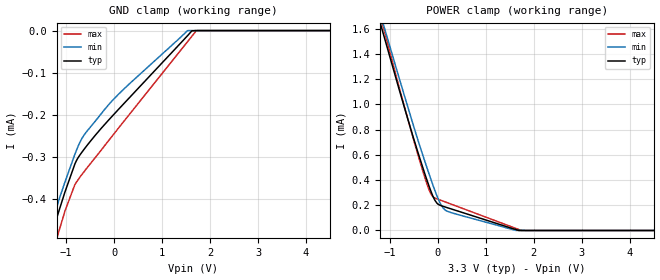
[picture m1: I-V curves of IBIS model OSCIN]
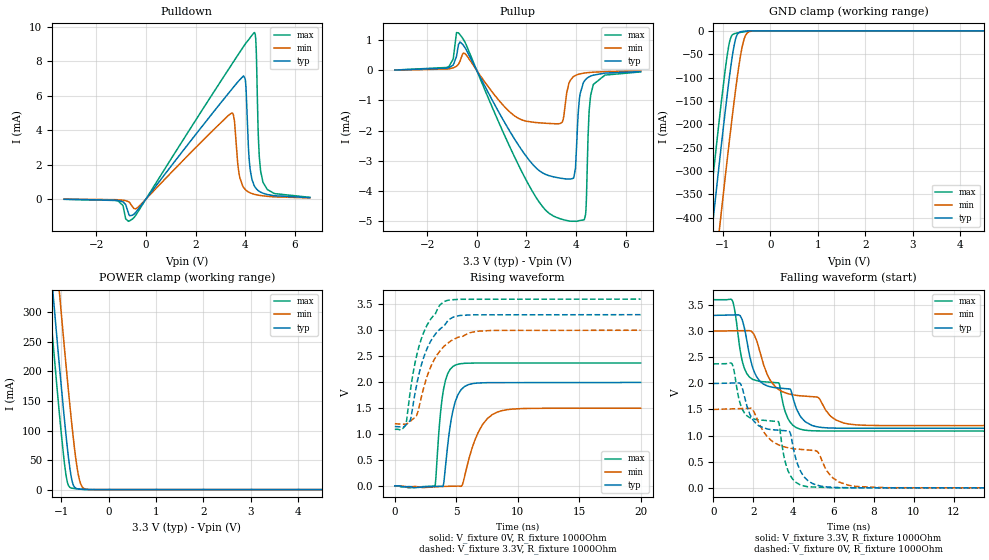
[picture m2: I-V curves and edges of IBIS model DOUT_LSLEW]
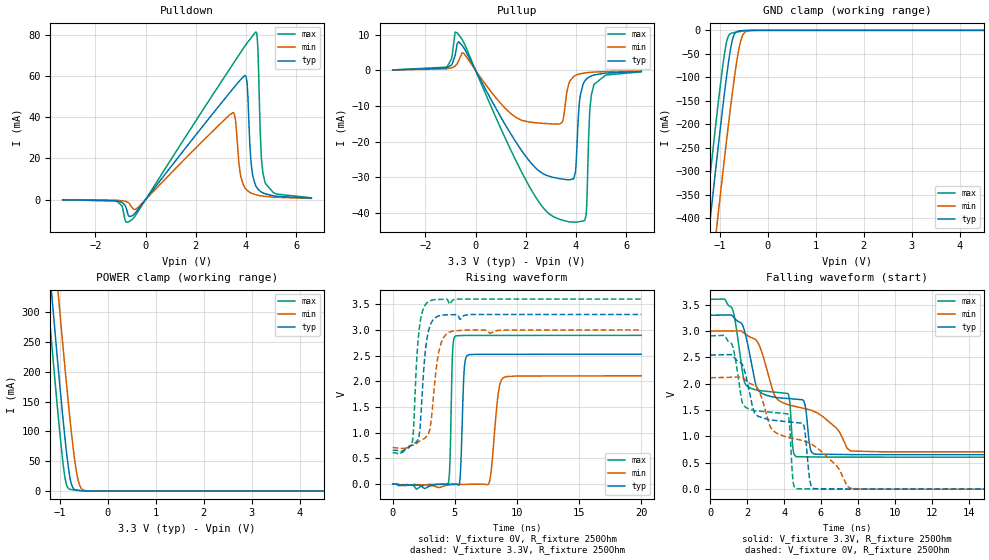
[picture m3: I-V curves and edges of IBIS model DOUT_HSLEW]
| Texas Instruments Incorporated
| Wideband Frequency Synthesizer with Integrated VCO
| Marketing part#   Voltage Range   Package-type   #pins/pkg drawing
| LMX2582RHA   3.0V - 3.6V   VQFN   40/ RHA
| LMX2592RHA   3.0V - 3.6V   VQFN   40/ RHA
[IBIS Ver]   4.1
[File name]   lmx25x2.ibs
[File Rev]   1.1
[Date]   09/13/2016
[Source]   Model built from spectre simulations at:
   Texas Instruments Incorporated.
   Analog-eLab, HPA
   12500 TI Blvd
   Dallas, TX -75243
   For Support e-mail: elab_ibis@list.ti.com
[Notes]   Revision History
   Rev 1.1: 09/13/2016
   - Add OSCin model to LMX2582
   Rev 1.0: 06/08/2016
   -Pulldown non-monotonic for RFOUT model
   -Pulldown/Pullup non-monotonic for DOUT_HSLEW models
   - C_comp although listed in numerical order of value are obtained from varying PVT conditions.
   For PVT conditions for each specific value, refer to the buffer description under respective [Model].
   IBIS model user is responsible for using appropriate C_comp to simulate for Signal Integrity.
[Disclaimer]  This model is designed as an aid for customers of Texas Instruments
 TI and its licensors and suppliers make no warranties, either expressed
 or implied, with respect to this  model, including the warranties of
 merchantability or fitness for a particular purpose.
 The model is provided solely on an "as is" basis. The entire risk as to
 its quality and performance is with the customer.
[Copyright] (C)Copyright 2016 Texas Instruments Incorporated.
   All rights reserved.
[Component]   LMX2582RHA
[Manufacturer]  Texas Instruments Incorporated
[Package]   | package
|   typ   min   max
R_pkg   0.0481   0.0070   0.0984
L_pkg   0.8559n   0.1579n   1.4136n
C_pkg   0.1669p   0.1059p   0.6549p
[Pin]   signal_name   model_name   R_pin   L_pin   C_pin
1   CE   INPCE   0.00698  0.15793n  0.65491p
2   GND   GND   0.03214  0.61168n  0.13952p
3   VbiasVCO   NC   0.03231  0.61307n  0.13729p
4   GND   GND   0.03242  0.61576n  0.13729p
5   NC   NC   0.06385  0.87481n  0.10883p
6   GND   GND   0.03291  0.62272n  0.14084p
7   VCCdig   POWER   0.03212  0.61336n  0.14275p
8   OSCinP   OSCIN   0.03284  0.63490n  0.14804p
9   OSCinM   OSCIN   0.03644  0.75293n  0.15729p
10   VregIN   NC   0.08311  1.17968n  0.12411p
11   VCCCP   POWER   0.04391  0.91853n  0.17234p
12   CPOUT   NC   0.04176  0.86907n  0.17677p
13   GND   GND   0.02696  0.72997n  0.20219p
14   GND   GND   0.04862  1.08658n  0.17963p
15   VCCMASH   POWER   0.04617  1.01100n  0.18186p
16   SCK   INP   0.08281  1.17151n  0.13669p
17   SDI   INP   0.07930  1.11696n  0.13492p
18   RFOUTB   RFOUT   0.04055  0.82255n  0.18102p
19   RFOUTB*   RFOUT   0.04205  0.86548n  0.18126p
20   MUXOUT   DOUT   0.09141  1.31028n  0.13140p
21   VCCBUF   POWER   0.04656  0.98983n  0.17071p
22   RFOUTA*   RFOUT   0.04647  1.00021n  0.19912p
23   RFOUTA   RFOUT   0.04379  0.91560n  0.19087p
24   CSB   INP   0.08165  1.15036n  0.13314p
25   GND   GND   0.02703  0.74342n  0.19499p
26   VccVCO2   NC   0.02709  0.74589n  0.20094p
27   VbiasVCO2   NC   0.04159  0.84539n  0.18011p
28   NC   NC   0.04461  0.93557n  0.18858p
29   VrefVCO2   NC   0.04933  1.09387n  0.19752p
30   Rext   NC   0.09839  1.41358n  0.13970p
31   GND   GND   0.07767  1.08848n  0.11563p
32   NC   NC   0.03506  0.71579n  0.14735p
33   VbiasVARAC   NC   0.03256  0.62591n  0.13797p
34   GND   GND   0.08157  1.14536n  0.12901p
35   Vtune   NC   0.06824  0.93832n  0.11765p
36   VREFVCO   NC   0.03160  0.59866n  0.14070p
37   VccVCO   NC   0.03017  0.55856n  0.13995p
38   VregVCO   NC   0.03163  0.59740n  0.13998p
39   GND   GND   0.03151  0.59467n  0.13738p
40   GND   GND   0.06943  0.96080n  0.10588p
[Diff pin]  inv_pin  vdiff  tdelay_typ  tdelay_min  tdelay_max
  8   9   0.1   NA   NA   NA
 18   19   NA   0.0s   0.0s   0.0s
 23   22   NA   0.0s   0.0s   0.0s
[Component]   LMX2592RHA
[Manufacturer]  Texas Instruments Incorporated
[Package]   | package
|   typ   min   max
R_pkg   0.0481   0.0070   0.0984
L_pkg   0.8559n   0.1579n   1.4136n
C_pkg   0.1669p   0.1059p   0.6549p
[Pin]   signal_name   model_name   R_pin   L_pin   C_pin
1   CE   INPCE   0.00698  0.15793n  0.65491p
2   GND   GND   0.03214  0.61168n  0.13952p
3   VbiasVCO   NC   0.03231  0.61307n  0.13729p
4   GND   GND   0.03242  0.61576n  0.13729p
5   NC   NC   0.06385  0.87481n  0.10883p
6   GND   GND   0.03291  0.62272n  0.14084p
7   VCCdig   POWER   0.03212  0.61336n  0.14275p
8   OSCinP   OSCIN   0.03284  0.63490n  0.14804p
9   OSCinM   OSCIN   0.03644  0.75293n  0.15729p
10   VregIN   NC   0.08311  1.17968n  0.12411p
11   VCCCP   POWER   0.04391  0.91853n  0.17234p
12   CPOUT   NC   0.04176  0.86907n  0.17677p
13   GND   GND   0.02696  0.72997n  0.20219p
14   GND   GND   0.04862  1.08658n  0.17963p
15   VCCMASH   POWER   0.04617  1.01100n  0.18186p
16   SCK   INP   0.08281  1.17151n  0.13669p
17   SDI   INP   0.07930  1.11696n  0.13492p
18   RFOUTB   RFOUT   0.04055  0.82255n  0.18102p
19   RFOUTB*   RFOUT   0.04205  0.86548n  0.18126p
20   MUXOUT   DOUT   0.09141  1.31028n  0.13140p
21   VCCBUF   POWER   0.04656  0.98983n  0.17071p
22   RFOUTA*   RFOUT   0.04647  1.00021n  0.19912p
23   RFOUTA   RFOUT   0.04379  0.91560n  0.19087p
24   CSB   INP   0.08165  1.15036n  0.13314p
25   GND   GND   0.02703  0.74342n  0.19499p
26   VccVCO2   NC   0.02709  0.74589n  0.20094p
27   VbiasVCO2   NC   0.04159  0.84539n  0.18011p
28   NC   NC   0.04461  0.93557n  0.18858p
29   VrefVCO2   NC   0.04933  1.09387n  0.19752p
30   Rext   NC   0.09839  1.41358n  0.13970p
31   GND   GND   0.07767  1.08848n  0.11563p
32   NC   NC   0.03506  0.71579n  0.14735p
33   VbiasVARAC   NC   0.03256  0.62591n  0.13797p
34   GND   GND   0.08157  1.14536n  0.12901p
35   Vtune   NC   0.06824  0.93832n  0.11765p
36   VREFVCO   NC   0.03160  0.59866n  0.14070p
37   VccVCO   NC   0.03017  0.55856n  0.13995p
38   VregVCO   NC   0.03163  0.59740n  0.13998p
39   GND   GND   0.03151  0.59467n  0.13738p
40   GND   GND   0.06943  0.96080n  0.10588p
[Diff pin]  inv_pin  vdiff  tdelay_typ  tdelay_min  tdelay_max
  8   9   0.1   NA   NA   NA
 18   19   NA   0.0s   0.0s   0.0s
 23   22   NA   0.0s   0.0s   0.0s
[Model Selector] DOUT
DOUT_LSLEW   3.3V OUTPUT, low slew rate
DOUT_HSLEW   3.3V OUTPUT, high slew rate
| Models and submodels in the file (6): OSCIN (Input), DOUT_LSLEW (3-state), DOUT_HSLEW (3-state), INP (Input), INPCE (Input), RFOUT (Open_drain)
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|   Model OSCIN
[Model]   OSCIN
Model_type   Input
Vinl = .4
Vinh = 1.8
|   typ   min   max
C_comp   0.219p   0.215p   0.221p
[Voltage Range]   3.3   3.15   3.45
[Temperature Range]   27   125   -40
[Power Clamp Reference]   3.3   3.15   3.45
[GND Clamp Reference]   0   0   0
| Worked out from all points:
|   GND clamp passes 1 mA (typ) near -2.28 V on its own axis
|   POWER clamp passes 1 mA (typ) near -0.72 V on its own axis
[GND Clamp]
|   Voltage   I(typ)   I(min)   I(max)
-3.3V     -1.834mA   -1.951mA   -1.829mA
-1.508V   -565uA     -564.9uA   -620uA
-1.31V    -487.7uA   -467.1uA   -540.3uA
-1.152V   -429.5uA   -403.3uA   -477.7uA
-1.023V   -383.4uA   -359.6uA   -428.6uA
-815.1mV  -316.6uA   -293.4uA   -365.7uA
-607.2mV  -279.5uA   -245.5uA   -332.8uA
85.8mV    -188.1uA   -152.1uA   -232.8uA
1.531V    -12.08uA   -44.6nA    -26.36uA
1.62V     -735.5nA   0A         -13.62uA
1.729V    0A         0A         0A
6.6V      0A         0A         0A
[POWER Clamp]
|   Voltage   I(typ)   I(min)   I(max)
-3.3V     5.966mA    6.361mA    6.077mA
-1.231V   1.684mA    1.757mA    1.748mA
-815.1mV  1.129mA    1.218mA    1.146mA
-409.2mV  611.5uA    709.5uA    592.2uA
-181.5mV  349.1uA    446uA      320.6uA
-112.2mV  280.1uA    369.9uA    271.2uA
-23.1mV   218uA      278.7uA    251.5uA
105.6mV   191.7uA    180.2uA    233.1uA
184.8mV   182uA      154.2uA    221.8uA
1.63V     6.809uA    0A         15.72uA
1.729V    0A         0A         1.069uA
6.6V      0A         0A         0A
|   Model DOUT_LSLEW
[Model]   DOUT_LSLEW
Model_type   3-state
Polarity   Non-Inverting
Vmeas = 1.65
Vref = 3.3
Cref = 1pF
Rref = 1000
|   typ   min   max
|   (nom PVT)   (fast PVT)   (slow PVT)
C_comp   1.019p   0.968p   1.051p
|C_comp (Hi state)   1.019p   0.968p   1.051p
|C_comp (Low state)   1.012p   0.963p   1.042p
[Voltage Range]   3.3   3   3.6
[Temperature Range]   27   125   -40
[Pullup Reference]   3.3   3   3.6
[Pulldown Reference]   0   0   0
[Power Clamp Reference]   3.3   3   3.6
[GND Clamp Reference]   0   0   0
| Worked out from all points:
|   slope of the pulldown table from 0 to 0.495 V, typ, clamps not added: 528 ohm
|   slope of the pullup table from 0 to 0.495 V, typ, clamps not added: 627 ohm
|   GND clamp passes 1 mA (typ) near -0.57 V on its own axis
|   POWER clamp passes 1 mA (typ) near -0.63 V on its own axis
|   falling waveform, V_fixture 3.3V, R_fixture 1000Ohm: 20-80 % time 2.45ns typ, 3.22ns min, 2.31ns max; typ from 3.3 V to 1.14 V
|   rising waveform, V_fixture 0V, R_fixture 1000Ohm: 20-80 % time 749ps typ, 1.4ns min, 569ps max; typ from 0 V to 1.99 V
|   rising waveform, V_fixture 3.3V, R_fixture 1000Ohm: 20-80 % time 1.63ns typ, 1.79ns min, 1.49ns max; typ from 1.14 V to 3.3 V
|   falling waveform, V_fixture 0V, R_fixture 1000Ohm: 20-80 % time 2.61ns typ, 3.39ns min, 2.43ns max; typ from 2 V to 0 V
[Pulldown]
|   Voltage   I(typ)   I(min)   I(max)
-3.3V     -11.43uA   -7.802uA   -12.1uA
-537.9mV  -936.6uA   -451.7uA   -1.153mA
3.462V    6.382mA    4.997mA    7.828mA
3.759V    6.891mA    1.418mA    8.479mA
3.937V    7.142mA    671.1uA    8.867mA
4.016V    6.747mA    535.7uA    9.031mA
4.165V    2.21mA     385.6uA    9.304mA
4.372V    751.3uA    275.1uA    9.665mA
4.442V    605.9uA    250.9uA    8.713mA
4.561V    452.6uA    217.8uA    2.597mA
4.709V    342.4uA    186.9uA    1.005mA
6.6V      81.82uA    66.05uA    100.7uA
[GND Clamp]
|   Voltage   I(typ)   I(min)   I(max)
-3.3V     -2.452A    -2.589A    -2.364A
-1.439V   -627.2mA   -770.9mA   -533mA
-1.27V    -466.7mA   -610.7mA   -372.2mA
-1.211V   -410.7mA   -554.6mA   -316.2mA
-1.073V   -282mA     -425.3mA   -188.4mA
-1.033V   -246mA     -388.8mA   -153.2mA
-874.5mV  -109.2mA   -246.3mA   -31.62mA
-765.6mV  -33.07mA   -153.9mA   -6.398mA
-696.3mV  -7.92mA    -99.78mA   -4.642mA
-577.5mV  -1.073mA   -27.36mA   -2.516mA
-419.1mV  -88.15uA   -1.084mA   -769.1uA
6.6V      0A         0A         0A
[Pullup]
|   Voltage   I(typ)   I(min)   I(max)
-3.3V     12.07uA    9.347uA    12.51uA
-1.132V   89.8uA     52.94uA    125.7uA
-735.9mV  862.4uA    206.3uA    1.249mA
2.234V    -3.109mA   -1.72mA    -4.015mA
3.432V    -3.594mA   -1.729mA   -4.955mA
3.858V    -3.601mA   -234.1uA   -5.021mA
3.977V    -3.257mA   -167uA     -5.022mA
4.145V    -883.9uA   -117.5uA   -4.995mA
4.382V    -304.1uA   -82.23uA   -4.8mA
4.521V    -215.1uA   -69.84uA   -1.435mA
4.699V    -155.4uA   -58.43uA   -464.3uA
6.6V      -38.28uA   -21.08uA   -49.46uA
[POWER Clamp]
|   Voltage   I(typ)   I(min)   I(max)
-3.3V     2.408A     2.526A     2.331A
-1.389V   536.7mA    662mA      454.1mA
-1.231V   386.9mA    512.5mA    303.9mA
-1.171V   331.5mA    457.1mA    248.6mA
-1.053V   223.1mA    347.7mA    141.4mA
-1.013V   188mA      311.9mA    107.5mA
-894.3mV  88.96mA    207.3mA    22.7mA
-795.3mV  24.72mA    125.6mA    2.896mA
-735.9mV  6.329mA    81.34mA    1.968mA
-636.9mV  1.065mA    24.47mA    1.107mA
-478.5mV  181.4uA    709.5uA    176.1uA
6.6V      0A         0A         0A
[Ramp]
R_load = 1000
|   typ   min   max
dV/dt_r   1.19558/7.49454e-10   0.89825/1.40115e-09   1.4217/5.69081e-10
dV/dt_f   1.29663/2.44804e-09   1.08511/3.20365e-09   1.50804/2.31143e-09
[Falling Waveform]
V_fixture = 3.3V
V_fixture_min = 3V
V_fixture_max = 3.6V
R_fixture = 1000Ohm
C_fixture = 0F
|   Time   V(typ)   V(min)   V(max)
0s        3.3V       3V         3.6V
928.8ps   3.307V     3.005V     3.597V
1.34ns    3.295V     3.007V     2.629V
1.669ns   2.822V     3.008V     2.186V
2.149ns   2.133V     2.83V      2.054V
3.27ns    1.91V      1.88V      2.009V
3.726ns   1.894V     1.801V     1.326V
4.301ns   1.398V     1.763V     1.126V
7.116ns   1.14V      1.206V     1.087V
20ns      1.139V     1.191V     1.087V
[Rising Waveform]
V_fixture = 0V
V_fixture_min = 0V
V_fixture_max = 0V
R_fixture = 1000Ohm
C_fixture = 0F
|   Time   V(typ)   V(min)   V(max)
0s        108.1nV    2.108uV    192.6nV
3.27ns    -11.22mV   -20.47mV   -5.748mV
3.646ns   -8.576mV   -15.22mV   1.222V
3.959ns   25.78mV    -12.06mV   1.856V
4.475ns   1.109V     -8.854mV   2.236V
4.982ns   1.663V     -6.554mV   2.334V
5.506ns   1.879V     28.86mV    2.359V
7.116ns   1.986V     1.173V     2.367V
8.316ns   1.989V     1.42V      2.368V
20ns      1.993V     1.497V     2.369V
[Rising Waveform]
V_fixture = 3.3V
V_fixture_min = 3V
V_fixture_max = 3.6V
R_fixture = 1000Ohm
C_fixture = 0F
|   Time   V(typ)   V(min)   V(max)
0s        1.143V     1.197V     1.09V
895.1ps   1.171V     1.19V      1.179V
1.276ns   1.282V     1.246V     1.854V
1.754ns   1.92V      1.348V     2.487V
2.149ns   2.324V     1.699V     2.83V
2.7ns     2.688V     2.161V     3.13V
3.959ns   3.069V     2.678V     3.546V
4.913ns   3.265V     2.838V     3.592V
6.751ns   3.297V     2.982V     3.597V
20ns      3.3V       3V         3.6V
[Falling Waveform]
|Gnd
V_fixture = 0V
V_fixture_min = 0V
V_fixture_max = 0V
R_fixture = 1000Ohm
C_fixture = 0F
|   Time   V(typ)   V(min)   V(max)
0s        1.997V     1.5V       2.373V
928.8ps   2.005V     1.511V     2.376V
1.361ns   1.988V     1.517V     1.589V
1.669ns   1.573V     1.52V      1.381V
2.149ns   1.222V     1.348V     1.305V
3.248ns   1.103V     824mV      1.268V
3.726ns   1.089V     767mV      330.1mV
4.499ns   228.9mV    731.5mV    37.34mV
7.116ns   2.047mV    26.75mV    744.9uV
20ns      -35.77uV   -26.42uV   -32.15uV
|   Model DOUT_HSLEW
[Model]   DOUT_HSLEW
Model_type   3-state
Polarity   Non-Inverting
Vmeas = 1.65
Vref = 3.3
Cref = 1pF
Rref = 250
|   typ   min   max
|   (nom PVT)   (fast PVT)   (slow PVT)
C_comp   1.019p   0.968p   1.051p
|C_comp (Hi state)   1.019p   0.968p   1.051p
|C_comp (Low state)   1.012p   0.963p   1.042p
[Voltage Range]   3.3   3   3.6
[Temperature Range]   27   125   -40
[Pullup Reference]   3.3   3   3.6
[Pulldown Reference]   -0   0   -0
[Power Clamp Reference]   3.3   3   3.6
[GND Clamp Reference]   0   0   0
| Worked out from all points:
|   slope of the pulldown table from 0 to 0.495 V, typ, clamps not added: 63 ohm
|   slope of the pullup table from 0 to 0.495 V, typ, clamps not added: 74.7 ohm
|   GND clamp passes 1 mA (typ) near -0.57 V on its own axis
|   POWER clamp passes 1 mA (typ) near -0.63 V on its own axis
|   falling waveform, V_fixture 3.3V, R_fixture 250Ohm: 20-80 % time 3.26ns typ, 3.97ns min, 2.96ns max; typ from 3.3 V to 0.654 V
|   rising waveform, V_fixture 0V, R_fixture 250Ohm: 20-80 % time 206ps typ, 459ps min, 158ps max; typ from 0 V to 2.53 V
|   rising waveform, V_fixture 3.3V, R_fixture 250Ohm: 20-80 % time 493ps typ, 630ps min, 422ps max; typ from 0.657 V to 3.3 V
|   falling waveform, V_fixture 0V, R_fixture 250Ohm: 20-80 % time 3.28ns typ, 4.07ns min, 2.97ns max; typ from 2.54 V to 0 V
[Pulldown]
|   Voltage   I(typ)   I(min)   I(max)
-3.3V     -97.31uA   -66.38uA   -103.1uA
-537.9mV  -7.903mA   -3.884mA   -9.711mA
3.482V    53.83mA    42.24mA    65.82mA
3.759V    57.85mA    13.57mA    70.91mA
3.957V    60.23mA    5.716mA    74.52mA
4.046V    56.01mA    4.447mA    76.07mA
4.204V    17.43mA    3.161mA    78.53mA
4.392V    6.6mA      2.34mA     81.3mA
4.471V    5.142mA    2.107mA    73.28mA
4.61V     3.684mA    1.794mA    20.61mA
4.759V    2.815mA    1.546mA    8.205mA
6.6V      703.7uA    565.4uA    872.6uA
[GND Clamp]
|   Voltage   I(typ)   I(min)   I(max)
-3.3V     -2.452A    -2.589A    -2.364A
-1.439V   -627.2mA   -770.9mA   -533mA
-1.27V    -466.7mA   -610.7mA   -372.2mA
-1.211V   -410.7mA   -554.6mA   -316.2mA
-1.073V   -282mA     -425.3mA   -188.4mA
-1.033V   -246mA     -388.8mA   -153.2mA
-874.5mV  -109.2mA   -246.3mA   -31.62mA
-765.6mV  -33.07mA   -153.9mA   -6.398mA
-696.3mV  -7.92mA    -99.78mA   -4.642mA
-577.5mV  -1.073mA   -27.36mA   -2.516mA
-419.1mV  -88.15uA   -1.084mA   -769.1uA
6.6V      0A         0A         0A
[Pullup]
|   Voltage   I(typ)   I(min)   I(max)
-3.3V     103.2uA    82.1uA     106.6uA
-1.132V   773.6uA    462.9uA    1.092mA
-735.9mV  7.422mA    1.805mA    10.54mA
2.452V    -27.83mA   -14.78mA   -36.26mA
3.442V    -30.54mA   -14.66mA   -42.06mA
3.719V    -30.74mA   -3.65mA    -42.54mA
4.006V    -25.89mA   -1.343mA   -42.67mA
4.155V    -7.744mA   -993.3uA   -42.46mA
4.402V    -2.541mA   -687.5uA   -40.52mA
4.541V    -1.805mA   -585.3uA   -12.25mA
4.719V    -1.308mA   -490.8uA   -3.945mA
6.6V      -327.2uA   -179.6uA   -424.3uA
[POWER Clamp]
|   Voltage   I(typ)   I(min)   I(max)
-3.3V     2.408A     2.526A     2.331A
-1.389V   536.7mA    662mA      454.1mA
-1.231V   386.9mA    512.5mA    303.9mA
-1.171V   331.5mA    457.1mA    248.6mA
-1.053V   223.1mA    347.7mA    141.4mA
-1.013V   188mA      311.9mA    107.5mA
-894.3mV  88.96mA    207.3mA    22.7mA
-795.3mV  24.72mA    125.6mA    2.896mA
-735.9mV  6.329mA    81.34mA    1.968mA
-636.9mV  1.065mA    24.47mA    1.107mA
-478.5mV  181.4uA    709.5uA    176.1uA
6.6V      0A         0A         0A
[Ramp]
R_load = 250
|   typ   min   max
dV/dt_r   1.51618/2.06185e-10   1.26405/4.58899e-10   1.73655/1.57782e-10
dV/dt_f   1.58787/3.26139e-09   1.37589/3.97049e-09   1.79585/2.95886e-09
[Falling Waveform]
V_fixture = 3.3V
V_fixture_min = 3V
V_fixture_max = 3.6V
R_fixture = 250Ohm
C_fixture = 0F
|   Time   V(typ)   V(min)   V(max)
0s        3.3V       3V         3.6V
1.185ns   3.294V     3.001V     3.431V
1.908ns   2.931V     2.943V     1.99V
2.549ns   1.9V       2.799V     1.876V
4.216ns   1.719V     1.603V     1.814V
4.638ns   1.707V     1.567V     619mV
5.103ns   1.638V     1.529V     613.4mV
5.646ns   664.9mV    1.47V      611mV
7.635ns   655.2mV    723.3mV    607.1mV
20ns      653.6mV    706.9mV    606.9mV
[Rising Waveform]
V_fixture = 0V
V_fixture_min = 0V
V_fixture_max = 0V
R_fixture = 250Ohm
C_fixture = 0F
|   Time   V(typ)   V(min)   V(max)
0s        15.55nV    -303.8nV   26.96nV
4.451ns   -2.775mV   -19.97mV   -9.847mV
4.803ns   -1.285mV   -8.54mV    2.496V
5.03ns    -326.5uV   -7.751mV   2.877V
5.391ns   39.94mV    -6.492mV   2.889V
5.732ns   2.159V     -5.305mV   2.892V
6.045ns   2.51V      -4.216mV   2.892V
7.784ns   2.525V     48.56mV    2.893V
8.866ns   2.525V     2.063V     2.893V
20ns      2.527V     2.107V     2.894V
[Rising Waveform]
V_fixture = 3.3V
V_fixture_min = 3V
V_fixture_max = 3.6V
R_fixture = 250Ohm
C_fixture = 0F
|   Time   V(typ)   V(min)   V(max)
0s        656.7mV    711.1mV    609.3mV
1.559ns   764.3mV    754.9mV    804.1mV
1.665ns   780.4mV    762.9mV    1.022V
2.04ns    867.8mV    816.4mV    2.794V
2.208ns   1.114V     842.3mV    3.154V
2.628ns   2.594V     900.7mV    3.488V
2.926ns   3.021V     1.016V     3.559V
3.68ns    3.269V     2.539V     3.592V
4.483ns   3.294V     2.948V     3.547V
20ns      3.3V       3V         3.6V
[Falling Waveform]
|Gnd
V_fixture = 0V
V_fixture_min = 0V
V_fixture_max = 0V
R_fixture = 250Ohm
C_fixture = 0F
|   Time   V(typ)   V(min)   V(max)
0s        2.543V     2.112V     2.907V
1.185ns   2.542V     2.123V     2.739V
1.856ns   2.245V     2.084V     1.571V
2.411ns   1.443V     1.966V     1.49V
4.195ns   1.279V     986.7mV    1.429V
4.638ns   1.263V     951.7mV    11.81mV
5.073ns   1.202V     915.5mV    6.309mV
5.646ns   9.5mV      817mV      3.978mV
7.635ns   1.017mV    12.52mV    343.9uV
20ns      -36.48uV   -53.2uV    -27.43uV
